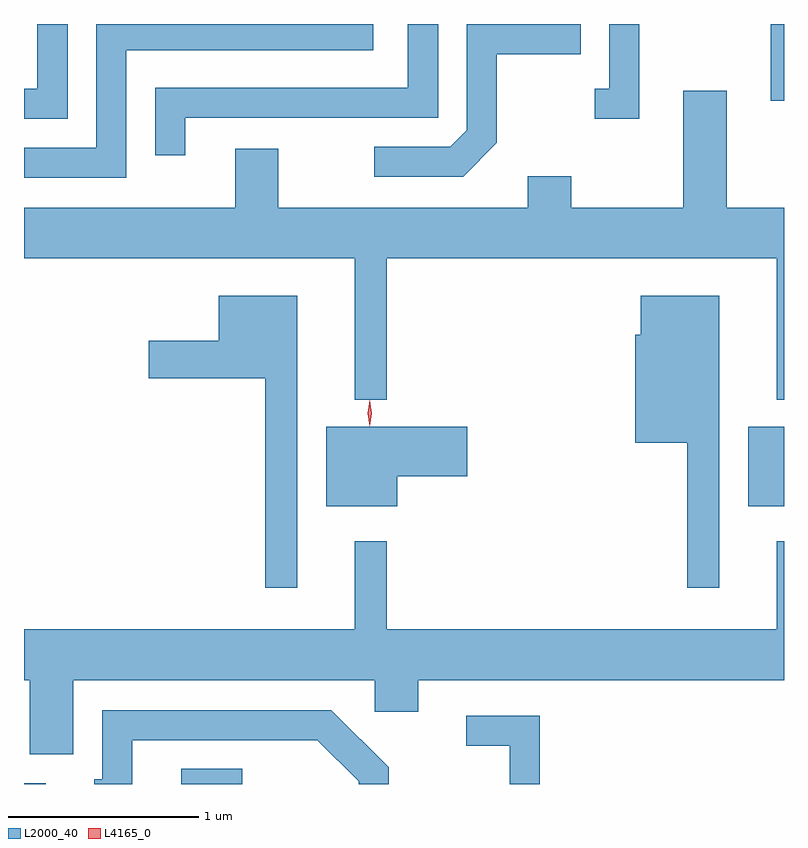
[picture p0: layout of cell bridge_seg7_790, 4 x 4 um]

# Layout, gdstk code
import gdstk
lib = gdstk.Library(unit=1e-6, precision=1e-09)
def R(c, l, rs):  # rectangles x0, y0, x1, y1
    for r in rs: c.add(gdstk.rectangle(r[:2], r[2:], *l))
def P(c, l, *ps):  # polygons
    for p in ps: c.add(gdstk.Polygon(p, *l))
L2000_40 = (2000, 40)
L4165_0 = (4165, 0)

bridge_seg7_790 = lib.new_cell('bridge_seg7_790')
R(bridge_seg7_790, L2000_40, [(342.66,1791.47,342.774,1791.474), (343.488,1791.47,343.809,1791.549), (346.471,1792.931,346.66,1793.349), (346.591,1795.066,346.66,1795.47)])
P(bridge_seg7_790, L2000_40, [(345.149,1794.844),(345.149,1795.311),(345.589,1795.311),(345.589,1795.47),(344.991,1795.47),(344.991,1794.912),(344.904,1794.824),(344.503,1794.824),(344.503,1794.666),(344.972,1794.666)],
  [(345.899,1795.47),(345.741,1795.47),(345.741,1795.129),(345.663,1795.129),(345.663,1794.971),(345.899,1794.971)],
  [(343.509,1794.976),(344.839,1794.976),(344.839,1795.47),(344.681,1795.47),(344.681,1795.134),(343.351,1795.134),(343.351,1794.778),(343.509,1794.778)],
  [(343.199,1795.331),(344.499,1795.331),(344.499,1795.47),(343.041,1795.47),(343.041,1794.819),(342.66,1794.819),(342.66,1794.661),(343.199,1794.661)],
  [(342.889,1795.47),(342.731,1795.47),(342.731,1795.129),(342.66,1795.129),(342.66,1794.971),(342.889,1794.971)],
  [(344.569,1794.236),(346.621,1794.236),(346.621,1793.493),(346.66,1793.493),(346.66,1794.504),(346.359,1794.504),(346.359,1795.119),(346.131,1795.119),(346.131,1794.504),(345.539,1794.504),(345.539,1794.669),(345.311,1794.669),(345.311,1794.504),(343.999,1794.504),(343.999,1794.814),(343.771,1794.814),(343.771,1794.504),(342.66,1794.504),(342.66,1794.236),(344.401,1794.236),(344.401,1793.493),(344.569,1793.493)],
  [(344.099,1794.039),(343.686,1794.039),(343.686,1793.804),(343.316,1793.804),(343.316,1793.606),(343.931,1793.606),(343.931,1792.503),(344.099,1792.503)],
  [(346.319,1794.039),(345.906,1794.039),(345.906,1793.834),(345.876,1793.834),(345.876,1793.266),(346.151,1793.266),(346.151,1792.503),(346.319,1792.503)],
  [(344.624,1793.091),(344.994,1793.091),(344.994,1793.349),(344.251,1793.349),(344.251,1792.931),(344.624,1792.931)],
  [(342.919,1792.016),(344.506,1792.016),(344.506,1791.851),(344.734,1791.851),(344.734,1792.016),(346.66,1792.016),(346.66,1792.748),(346.621,1792.748),(346.621,1792.284),(344.569,1792.284),(344.569,1792.748),(344.401,1792.748),(344.401,1792.284),(342.66,1792.284),(342.66,1792.016),(342.691,1792.016),(342.691,1791.626),(342.919,1791.626)],
  [(343.229,1791.701),(344.204,1791.701),(344.421,1791.484),(344.421,1791.47),(344.579,1791.47),(344.579,1791.557),(344.277,1791.859),(343.071,1791.859),(343.071,1791.494),(343.031,1791.494),(343.031,1791.47),(343.229,1791.47)],
  [(345.374,1791.829),(344.988,1791.829),(344.988,1791.671),(345.216,1791.671),(345.216,1791.47),(345.374,1791.47)])
P(bridge_seg7_790, L4165_0, [(344.479,1793.36),(344.479,1793.361),(344.47,1793.424),(344.48,1793.486),(344.481,1793.487),(344.481,1793.486),(344.49,1793.424),(344.48,1793.361)],
  [(344.479,1793.354),(344.47,1793.422),(344.48,1793.49),(344.481,1793.49),(344.481,1793.49),(344.49,1793.422),(344.48,1793.354),(344.48,1793.354)])

lib.write_gds('bridge_seg7_790.gds')
